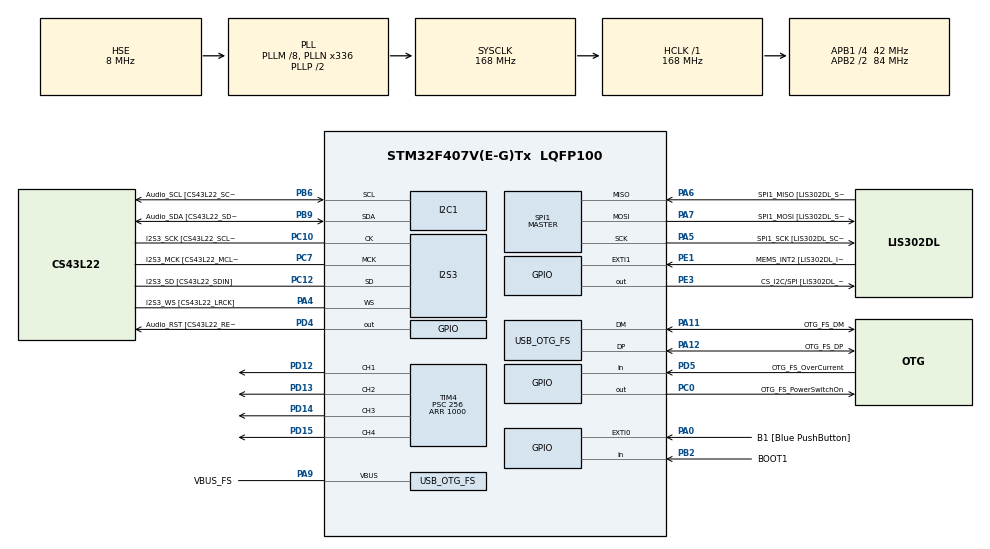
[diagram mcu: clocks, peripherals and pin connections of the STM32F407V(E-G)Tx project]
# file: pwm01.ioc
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I2S3.AudioFreq-Half_Duplex_Master=I2S_AUDIOFREQ_96K
I2S3.ErrorAudioFreq=-2.34 %
I2S3.ErrorAudioFreq-Half_Duplex_Master=0.8 %
I2S3.FullDuplexMode=I2S_FULLDUPLEXMODE_DISABLE
I2S3.Instance=SPI$Index
I2S3.RealAudioFreq=93.75 KHz
I2S3.RealAudioFreq-Half_Duplex_Master=96.774 KHz
I2S3.VirtualMode=I2S_MODE_MASTER
Mcu.Family=STM32F4
Mcu.Name=STM32F407V(E-G)Tx
Mcu.Package=LQFP100
NVIC.OTG_FS_IRQn=true\:0\:0\:false\:false\:true\:true\:true
NVIC.PriorityGroup=NVIC_PRIORITYGROUP_0
PA0-WKUP.GPIO_Label=B1 [Blue PushButton]
PA0-WKUP.GPIO_ModeDefaultEXTI=GPIO_MODE_EVT_RISING
PA0-WKUP.GPIO_PuPd=GPIO_NOPULL
PA0-WKUP.Signal=GPXTI0
PA10.GPIO_Label=OTG_FS_ID
PA10.GPIO_Mode=GPIO_MODE_AF_PP
PA10.GPIO_PuPd=GPIO_NOPULL
PA10.GPIO_Speed=GPIO_SPEED_FREQ_LOW
PA10.Signal=USB_OTG_FS_ID
PA11.GPIO_Label=OTG_FS_DM
PA11.GPIO_Mode=GPIO_MODE_AF_PP
PA11.GPIO_PuPd=GPIO_NOPULL
PA11.GPIO_Speed=GPIO_SPEED_FREQ_LOW
PA11.Mode=Host_Only
PA11.Signal=USB_OTG_FS_DM
PA12.GPIO_Label=OTG_FS_DP
PA12.GPIO_Mode=GPIO_MODE_AF_PP
PA12.GPIO_PuPd=GPIO_NOPULL
PA12.GPIO_Speed=GPIO_SPEED_FREQ_LOW
PA12.Mode=Host_Only
PA12.Signal=USB_OTG_FS_DP
PA13.GPIO_Label=SWDIO
PA13.Mode=Serial_Wire
PA13.Signal=SYS_JTMS-SWDIO
PA14.GPIO_Label=SWCLK
PA14.Mode=Serial_Wire
PA14.Signal=SYS_JTCK-SWCLK
PA4.GPIO_Label=I2S3_WS [CS43L22_LRCK]
PA4.GPIO_Mode=GPIO_MODE_AF_PP
PA4.GPIO_PuPd=GPIO_NOPULL
PA4.GPIO_Speed=GPIO_SPEED_FREQ_LOW
PA4.Mode=Half_Duplex_Master
PA4.Signal=I2S3_WS
PA5.GPIO_Label=SPI1_SCK [LIS302DL_SCL/SPC]
PA5.GPIO_Mode=GPIO_MODE_AF_PP
PA5.GPIO_PuPd=GPIO_NOPULL
PA5.GPIO_Speed=GPIO_SPEED_FREQ_LOW
PA5.Mode=Full_Duplex_Master
PA5.Signal=SPI1_SCK
PA6.GPIO_Label=SPI1_MISO [LIS302DL_SDO]
PA6.GPIO_Mode=GPIO_MODE_AF_PP
PA6.GPIO_PuPd=GPIO_NOPULL
PA6.GPIO_Speed=GPIO_SPEED_FREQ_LOW
PA6.Mode=Full_Duplex_Master
PA6.Signal=SPI1_MISO
PA7.GPIO_Label=SPI1_MOSI [LIS302DL_SDA/SDI/SDO]
PA7.GPIO_Mode=GPIO_MODE_AF_PP
PA7.GPIO_PuPd=GPIO_NOPULL
PA7.GPIO_Speed=GPIO_SPEED_FREQ_LOW
PA7.Mode=Full_Duplex_Master
PA7.Signal=SPI1_MOSI
PA9.GPIO_Label=VBUS_FS
PA9.GPIO_Mode=GPIO_MODE_INPUT
PA9.GPIO_PuPd=GPIO_NOPULL
PA9.Mode=Activate_VBUS
PA9.Signal=USB_OTG_FS_VBUS
PB10.GPIO_Label=CLK_IN [MP45DT02_CLK]
PB10.GPIO_Mode=GPIO_MODE_AF_PP
PB10.GPIO_PuPd=GPIO_NOPULL
PB10.GPIO_Speed=GPIO_SPEED_FREQ_LOW
PB10.Signal=I2S2_CK
PB2.GPIO_Label=BOOT1
PB2.GPIO_Mode=GPIO_MODE_INPUT
PB2.GPIO_PuPd=GPIO_NOPULL
PB2.Signal=GPIO_Input
PB3.GPIO_Label=SWO
PB3.Signal=SYS_JTDO-SWO
PB6.GPIO_Label=Audio_SCL [CS43L22_SCL]
PB6.GPIO_Mode=GPIO_MODE_AF_OD
PB6.GPIO_Pu=GPIO_PULLUP
PB6.GPIO_PuPd=GPIO_NOPULL
PB6.GPIO_Speed=GPIO_SPEED_FREQ_LOW
PB6.Mode=I2C
PB6.Signal=I2C1_SCL
PB9.GPIO_Label=Audio_SDA [CS43L22_SDA]
PB9.GPIO_Mode=GPIO_MODE_AF_OD
PB9.GPIO_Pu=GPIO_PULLUP
PB9.GPIO_PuPd=GPIO_NOPULL
PB9.GPIO_Speed=GPIO_SPEED_FREQ_LOW
PB9.Mode=I2C
PB9.Signal=I2C1_SDA
PC0.GPIO_Label=OTG_FS_PowerSwitchOn
PC0.GPIO_PuPd=GPIO_NOPULL
PC0.GPIO_Speed=GPIO_SPEED_FREQ_LOW
PC0.PinState=GPIO_PIN_SET
PC0.Signal=GPIO_Output
PC10.GPIO_Label=I2S3_SCK [CS43L22_SCLK]
PC10.GPIO_Mode=GPIO_MODE_AF_PP
PC10.GPIO_PuPd=GPIO_NOPULL
PC10.GPIO_Speed=GPIO_SPEED_FREQ_LOW
PC10.Mode=Half_Duplex_Master
PC10.Signal=I2S3_CK
PC12.GPIO_Label=I2S3_SD [CS43L22_SDIN]
PC12.GPIO_Mode=GPIO_MODE_AF_PP
PC12.GPIO_PuPd=GPIO_NOPULL
PC12.GPIO_Speed=GPIO_SPEED_FREQ_LOW
PC12.Mode=Half_Duplex_Master
PC12.Signal=I2S3_SD
PC14-OSC32_IN.GPIO_Label=PC14-OSC32_IN
PC14-OSC32_IN.Mode=LSE-External-Oscillator
PC14-OSC32_IN.Signal=RCC_OSC32_IN
PC15-OSC32_OUT.GPIO_Label=PC15-OSC32_OUT
PC15-OSC32_OUT.Mode=LSE-External-Oscillator
PC15-OSC32_OUT.Signal=RCC_OSC32_OUT
PC3.GPIO_Label=PDM_OUT [MP45DT02_DOUT]
PC3.GPIO_Mode=GPIO_MODE_AF_PP
PC3.GPIO_PuPd=GPIO_NOPULL
PC3.GPIO_Speed=GPIO_SPEED_FREQ_LOW
PC3.Signal=I2S2_SD
PC7.GPIO_Label=I2S3_MCK [CS43L22_MCLK]
PC7.GPIO_Mode=GPIO_MODE_AF_PP
PC7.GPIO_PuPd=GPIO_NOPULL
PC7.GPIO_Speed=GPIO_SPEED_FREQ_LOW
PC7.Mode=Master_Clock_Activated
PC7.Signal=I2S3_MCK
PD12.Signal=S_TIM4_CH1
PD13.Signal=S_TIM4_CH2
PD14.Signal=S_TIM4_CH3
PD15.Signal=S_TIM4_CH4
PD4.GPIO_Label=Audio_RST [CS43L22_RESET]
PD4.GPIO_PuPd=GPIO_NOPULL
PD4.GPIO_Speed=GPIO_SPEED_FREQ_LOW
PD4.Signal=GPIO_Output
PD5.GPIO_Label=OTG_FS_OverCurrent
PD5.GPIO_Mode=GPIO_MODE_INPUT
PD5.GPIO_PuPd=GPIO_NOPULL
PD5.Signal=GPIO_Input
PE1.GPIO_Label=MEMS_INT2 [LIS302DL_INT2]
PE1.GPIO_ModeDefaultEXTI=GPIO_MODE_EVT_RISING
PE1.GPIO_PuPd=GPIO_NOPULL
PE1.Signal=GPXTI1
PE3.GPIO_Label=CS_I2C/SPI [LIS302DL_CS_I2C/SPI]
PE3.GPIO_PuPd=GPIO_NOPULL
PE3.GPIO_Speed=GPIO_SPEED_FREQ_LOW
PE3.Signal=GPIO_Output
PH0-OSC_IN.GPIO_Label=PH0-OSC_IN
PH0-OSC_IN.Mode=HSE-External-Oscillator
PH0-OSC_IN.Signal=RCC_OSC_IN
PH1-OSC_OUT.GPIO_Label=PH1-OSC_OUT
PH1-OSC_OUT.Mode=HSE-External-Oscillator
PH1-OSC_OUT.Signal=RCC_OSC_OUT
ProjectManager.HeapSize=0x200
ProjectManager.StackSize=0x400
ProjectManager.TargetToolchain=STM32CubeIDE
RCC.48MHZClocksFreq_Value=48000000
RCC.AHBFreq_Value=168000000
RCC.APB1CLKDivider=RCC_HCLK_DIV4
RCC.APB1Freq_Value=42000000
RCC.APB1TimFreq_Value=84000000
RCC.APB2CLKDivider=RCC_HCLK_DIV2
RCC.APB2Freq_Value=84000000
RCC.APB2TimFreq_Value=168000000
RCC.CortexFreq_Value=168000000
RCC.HCLKFreq_Value=168000000
RCC.HSE_VALUE=8000000
RCC.HSI_VALUE=16000000
RCC.PLLM=8
RCC.PLLN=336
RCC.PLLQ=7
RCC.SYSCLKFreq_VALUE=168000000
RCC.SYSCLKSource=RCC_SYSCLKSOURCE_PLLCLK
RCC.VCOOutputFreq_Value=336000000
SH.S_TIM4_CH1.0=TIM4_CH1,PWM Generation1 CH1
SH.S_TIM4_CH2.0=TIM4_CH2,PWM Generation2 CH2
SH.S_TIM4_CH3.0=TIM4_CH3,PWM Generation3 CH3
SH.S_TIM4_CH4.0=TIM4_CH4,PWM Generation4 CH4
SPI1.BaudRatePrescaler-Full_Duplex_Master=SPI_BAUDRATEPRESCALER_2
SPI1.CalculateBaudRate-Full_Duplex_Master=42.0 MBits/s
SPI1.Direction=SPI_DIRECTION_2LINES
SPI1.Mode=SPI_MODE_MASTER
SPI1.Mode-Full_Duplex_Master=SPI_MODE_MASTER
SPI1.VirtualType=VM_MASTER
TIM4.Channel-PWM\ Generation1\ CH1=TIM_CHANNEL_1
TIM4.Channel-PWM\ Generation2\ CH2=TIM_CHANNEL_2
TIM4.Channel-PWM\ Generation3\ CH3=TIM_CHANNEL_3
TIM4.Channel-PWM\ Generation4\ CH4=TIM_CHANNEL_4
TIM4.Period=1000
TIM4.Prescaler=256
USB_HOST.BSP.number=1
USB_HOST.USBH_HandleTypeDef-CDC_FS=hUsbHostFS
USB_HOST.VirtualModeFS=Cdc
USB_HOST0.BSP.STBoard=false
USB_HOST0.BSP.api=Unknown
USB_HOST0.BSP.i2caddr=0
USB_HOST0.BSP.i2creg=0
USB_HOST0.BSP.instance=PC0
USB_HOST0.BSP.ip=GPIO
USB_HOST0.BSP.mode=Output
USB_HOST0.BSP.name=Drive_VBUS_FS
USB_HOST0.BSP.solution=PC0
USB_OTG_FS.VirtualMode=Host_Only
USB_OTG_FS.phy_itface=HCD_PHY_EMBEDDED
VP_TIM4_VS_ClockSourceINT.Mode=Internal
VP_USB_HOST_VS_USB_HOST_CDC_FS.Mode=CDC_FS
board=STM32F407G-DISC1

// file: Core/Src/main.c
/* USER CODE BEGIN Header */
/**
  ******************************************************************************
  * @file           : main.c
  * @brief          : Main program body
  ******************************************************************************
  * @attention
  *
  * Copyright (c) 2022 STMicroelectronics.
  * All rights reserved.
  *
  * This software is licensed under terms that can be found in the LICENSE file
  * in the root directory of this software component.
  * If no LICENSE file comes with this software, it is provided AS-IS.
  *
  ******************************************************************************
  */
/* USER CODE END Header */
#include "main.h"
#include "usb_host.h"

I2C_HandleTypeDef hi2c1;

I2S_HandleTypeDef hi2s3;

SPI_HandleTypeDef hspi1;

TIM_HandleTypeDef htim4;

void SystemClock_Config(void);
static void MX_GPIO_Init(void);
static void MX_I2C1_Init(void);
static void MX_I2S3_Init(void);
static void MX_SPI1_Init(void);
static void MX_TIM4_Init(void);
void MX_USB_HOST_Process(void);

int main(void)
{

  /* MCU Configuration--------------------------------------------------------*/

  /* Reset of all peripherals, Initializes the Flash interface and the Systick. */
  HAL_Init();

  /* Configure the system clock */
  SystemClock_Config();

  /* Initialize all configured peripherals */
  MX_GPIO_Init();
  MX_I2C1_Init();
  MX_I2S3_Init();
  MX_SPI1_Init();
  MX_USB_HOST_Init();
  MX_TIM4_Init();

  /* Infinite loop */
  /* USER CODE BEGIN WHILE */
  HAL_TIM_PWM_Start(&htim4, TIM_CHANNEL_1);
  HAL_TIM_PWM_Start(&htim4, TIM_CHANNEL_2);
  HAL_TIM_PWM_Start(&htim4, TIM_CHANNEL_3);
  HAL_TIM_PWM_Start(&htim4, TIM_CHANNEL_4);

  uint16_t step = 0;
  uint16_t phase = 0;

  while (1)
  {
	  if(phase%8 == 0 || phase%8 == 1) __HAL_TIM_SET_COMPARE(&htim4, TIM_CHANNEL_1, step);
	  if(phase%8 == 2 || phase%8 == 3) __HAL_TIM_SET_COMPARE(&htim4, TIM_CHANNEL_3, step);
	  if(phase%8 == 4 || phase%8 == 5) __HAL_TIM_SET_COMPARE(&htim4, TIM_CHANNEL_2, step);
	  if(phase%8 == 6 || phase%8 == 7) __HAL_TIM_SET_COMPARE(&htim4, TIM_CHANNEL_4, step);

	  if(phase%2 == 0) {
		  if(step == 1000) phase++;
		  step += 10;
	  }

	  if(phase%2 == 1) {
		  if(step == 0) phase++;
		  step -= 10;
	  }

	  HAL_Delay(50);

    /* USER CODE END WHILE */
//    MX_USB_HOST_Process();

  }
}

void SystemClock_Config(void)
{
  RCC_OscInitTypeDef RCC_OscInitStruct = {0};
  RCC_ClkInitTypeDef RCC_ClkInitStruct = {0};

  /** Configure the main internal regulator output voltage
  */
  __HAL_RCC_PWR_CLK_ENABLE();
  __HAL_PWR_VOLTAGESCALING_CONFIG(PWR_REGULATOR_VOLTAGE_SCALE1);
  /** Initializes the RCC Oscillators according to the specified parameters
  * in the RCC_OscInitTypeDef structure.
  */
  RCC_OscInitStruct.OscillatorType = RCC_OSCILLATORTYPE_HSE;
  RCC_OscInitStruct.HSEState = RCC_HSE_ON;
  RCC_OscInitStruct.PLL.PLLState = RCC_PLL_ON;
  RCC_OscInitStruct.PLL.PLLSource = RCC_PLLSOURCE_HSE;
  RCC_OscInitStruct.PLL.PLLM = 8;
  RCC_OscInitStruct.PLL.PLLN = 336;
  RCC_OscInitStruct.PLL.PLLP = RCC_PLLP_DIV2;
  RCC_OscInitStruct.PLL.PLLQ = 7;
  if (HAL_RCC_OscConfig(&RCC_OscInitStruct) != HAL_OK)
  {
    Error_Handler();
  }
  /** Initializes the CPU, AHB and APB buses clocks
  */
  RCC_ClkInitStruct.ClockType = RCC_CLOCKTYPE_HCLK|RCC_CLOCKTYPE_SYSCLK
                              |RCC_CLOCKTYPE_PCLK1|RCC_CLOCKTYPE_PCLK2;
  RCC_ClkInitStruct.SYSCLKSource = RCC_SYSCLKSOURCE_PLLCLK;
  RCC_ClkInitStruct.AHBCLKDivider = RCC_SYSCLK_DIV1;
  RCC_ClkInitStruct.APB1CLKDivider = RCC_HCLK_DIV4;
  RCC_ClkInitStruct.APB2CLKDivider = RCC_HCLK_DIV2;

  if (HAL_RCC_ClockConfig(&RCC_ClkInitStruct, FLASH_LATENCY_5) != HAL_OK)
  {
    Error_Handler();
  }
}

static void MX_I2C1_Init(void)
{

  hi2c1.Instance = I2C1;
  hi2c1.Init.ClockSpeed = 100000;
  hi2c1.Init.DutyCycle = I2C_DUTYCYCLE_2;
  hi2c1.Init.OwnAddress1 = 0;
  hi2c1.Init.AddressingMode = I2C_ADDRESSINGMODE_7BIT;
  hi2c1.Init.DualAddressMode = I2C_DUALADDRESS_DISABLE;
  hi2c1.Init.OwnAddress2 = 0;
  hi2c1.Init.GeneralCallMode = I2C_GENERALCALL_DISABLE;
  hi2c1.Init.NoStretchMode = I2C_NOSTRETCH_DISABLE;
  if (HAL_I2C_Init(&hi2c1) != HAL_OK)
  {
    Error_Handler();
  }

}

static void MX_I2S3_Init(void)
{

  hi2s3.Instance = SPI3;
  hi2s3.Init.Mode = I2S_MODE_MASTER_TX;
  hi2s3.Init.Standard = I2S_STANDARD_PHILIPS;
  hi2s3.Init.DataFormat = I2S_DATAFORMAT_16B;
  hi2s3.Init.MCLKOutput = I2S_MCLKOUTPUT_ENABLE;
  hi2s3.Init.AudioFreq = I2S_AUDIOFREQ_96K;
  hi2s3.Init.CPOL = I2S_CPOL_LOW;
  hi2s3.Init.ClockSource = I2S_CLOCK_PLL;
  hi2s3.Init.FullDuplexMode = I2S_FULLDUPLEXMODE_DISABLE;
  if (HAL_I2S_Init(&hi2s3) != HAL_OK)
  {
    Error_Handler();
  }

}

static void MX_SPI1_Init(void)
{

  /* SPI1 parameter configuration*/
  hspi1.Instance = SPI1;
  hspi1.Init.Mode = SPI_MODE_MASTER;
  hspi1.Init.Direction = SPI_DIRECTION_2LINES;
  hspi1.Init.DataSize = SPI_DATASIZE_8BIT;
  hspi1.Init.CLKPolarity = SPI_POLARITY_LOW;
  hspi1.Init.CLKPhase = SPI_PHASE_1EDGE;
  hspi1.Init.NSS = SPI_NSS_SOFT;
  hspi1.Init.BaudRatePrescaler = SPI_BAUDRATEPRESCALER_2;
  hspi1.Init.FirstBit = SPI_FIRSTBIT_MSB;
  hspi1.Init.TIMode = SPI_TIMODE_DISABLE;
  hspi1.Init.CRCCalculation = SPI_CRCCALCULATION_DISABLE;
  hspi1.Init.CRCPolynomial = 10;
  if (HAL_SPI_Init(&hspi1) != HAL_OK)
  {
    Error_Handler();
  }

}

static void MX_TIM4_Init(void)
{

  TIM_ClockConfigTypeDef sClockSourceConfig = {0};
  TIM_MasterConfigTypeDef sMasterConfig = {0};
  TIM_OC_InitTypeDef sConfigOC = {0};

  htim4.Instance = TIM4;
  htim4.Init.Prescaler = 256;
  htim4.Init.CounterMode = TIM_COUNTERMODE_UP;
  htim4.Init.Period = 1000;
  htim4.Init.ClockDivision = TIM_CLOCKDIVISION_DIV1;
  htim4.Init.AutoReloadPreload = TIM_AUTORELOAD_PRELOAD_DISABLE;
  if (HAL_TIM_Base_Init(&htim4) != HAL_OK)
  {
    Error_Handler();
  }
  sClockSourceConfig.ClockSource = TIM_CLOCKSOURCE_INTERNAL;
  if (HAL_TIM_ConfigClockSource(&htim4, &sClockSourceConfig) != HAL_OK)
  {
    Error_Handler();
  }
  if (HAL_TIM_PWM_Init(&htim4) != HAL_OK)
  {
    Error_Handler();
  }
  sMasterConfig.MasterOutputTrigger = TIM_TRGO_RESET;
  sMasterConfig.MasterSlaveMode = TIM_MASTERSLAVEMODE_DISABLE;
  if (HAL_TIMEx_MasterConfigSynchronization(&htim4, &sMasterConfig) != HAL_OK)
  {
    Error_Handler();
  }
  sConfigOC.OCMode = TIM_OCMODE_PWM1;
  sConfigOC.Pulse = 0;
  sConfigOC.OCPolarity = TIM_OCPOLARITY_HIGH;
  sConfigOC.OCFastMode = TIM_OCFAST_DISABLE;
  if (HAL_TIM_PWM_ConfigChannel(&htim4, &sConfigOC, TIM_CHANNEL_1) != HAL_OK)
  {
    Error_Handler();
  }
  if (HAL_TIM_PWM_ConfigChannel(&htim4, &sConfigOC, TIM_CHANNEL_2) != HAL_OK)
  {
    Error_Handler();
  }
  if (HAL_TIM_PWM_ConfigChannel(&htim4, &sConfigOC, TIM_CHANNEL_3) != HAL_OK)
  {
    Error_Handler();
  }
  if (HAL_TIM_PWM_ConfigChannel(&htim4, &sConfigOC, TIM_CHANNEL_4) != HAL_OK)
  {
    Error_Handler();
  }
  HAL_TIM_MspPostInit(&htim4);

}

static void MX_GPIO_Init(void)
{
  GPIO_InitTypeDef GPIO_InitStruct = {0};

  /* GPIO Ports Clock Enable */
  __HAL_RCC_GPIOE_CLK_ENABLE();
  __HAL_RCC_GPIOC_CLK_ENABLE();
  __HAL_RCC_GPIOH_CLK_ENABLE();
  __HAL_RCC_GPIOA_CLK_ENABLE();
  __HAL_RCC_GPIOB_CLK_ENABLE();
  __HAL_RCC_GPIOD_CLK_ENABLE();

  /*Configure GPIO pin Output Level */
  HAL_GPIO_WritePin(CS_I2C_SPI_GPIO_Port, CS_I2C_SPI_Pin, GPIO_PIN_RESET);

  /*Configure GPIO pin Output Level */
  HAL_GPIO_WritePin(OTG_FS_PowerSwitchOn_GPIO_Port, OTG_FS_PowerSwitchOn_Pin, GPIO_PIN_SET);

  /*Configure GPIO pin Output Level */
  HAL_GPIO_WritePin(Audio_RST_GPIO_Port, Audio_RST_Pin, GPIO_PIN_RESET);

  /*Configure GPIO pin : CS_I2C_SPI_Pin */
  GPIO_InitStruct.Pin = CS_I2C_SPI_Pin;
  GPIO_InitStruct.Mode = GPIO_MODE_OUTPUT_PP;
  GPIO_InitStruct.Pull = GPIO_NOPULL;
  GPIO_InitStruct.Speed = GPIO_SPEED_FREQ_LOW;
  HAL_GPIO_Init(CS_I2C_SPI_GPIO_Port, &GPIO_InitStruct);

  /*Configure GPIO pin : OTG_FS_PowerSwitchOn_Pin */
  GPIO_InitStruct.Pin = OTG_FS_PowerSwitchOn_Pin;
  GPIO_InitStruct.Mode = GPIO_MODE_OUTPUT_PP;
  GPIO_InitStruct.Pull = GPIO_NOPULL;
  GPIO_InitStruct.Speed = GPIO_SPEED_FREQ_LOW;
  HAL_GPIO_Init(OTG_FS_PowerSwitchOn_GPIO_Port, &GPIO_InitStruct);

  /*Configure GPIO pin : PDM_OUT_Pin */
  GPIO_InitStruct.Pin = PDM_OUT_Pin;
  GPIO_InitStruct.Mode = GPIO_MODE_AF_PP;
  GPIO_InitStruct.Pull = GPIO_NOPULL;
  GPIO_InitStruct.Speed = GPIO_SPEED_FREQ_LOW;
  GPIO_InitStruct.Alternate = GPIO_AF5_SPI2;
  HAL_GPIO_Init(PDM_OUT_GPIO_Port, &GPIO_InitStruct);

  /*Configure GPIO pin : B1_Pin */
  GPIO_InitStruct.Pin = B1_Pin;
  GPIO_InitStruct.Mode = GPIO_MODE_EVT_RISING;
  GPIO_InitStruct.Pull = GPIO_NOPULL;
  HAL_GPIO_Init(B1_GPIO_Port, &GPIO_InitStruct);

  /*Configure GPIO pin : BOOT1_Pin */
  GPIO_InitStruct.Pin = BOOT1_Pin;
  GPIO_InitStruct.Mode = GPIO_MODE_INPUT;
  GPIO_InitStruct.Pull = GPIO_NOPULL;
  HAL_GPIO_Init(BOOT1_GPIO_Port, &GPIO_InitStruct);

  /*Configure GPIO pin : CLK_IN_Pin */
  GPIO_InitStruct.Pin = CLK_IN_Pin;
  GPIO_InitStruct.Mode = GPIO_MODE_AF_PP;
  GPIO_InitStruct.Pull = GPIO_NOPULL;
  GPIO_InitStruct.Speed = GPIO_SPEED_FREQ_LOW;
  GPIO_InitStruct.Alternate = GPIO_AF5_SPI2;
  HAL_GPIO_Init(CLK_IN_GPIO_Port, &GPIO_InitStruct);

  /*Configure GPIO pin : Audio_RST_Pin */
  GPIO_InitStruct.Pin = Audio_RST_Pin;
  GPIO_InitStruct.Mode = GPIO_MODE_OUTPUT_PP;
  GPIO_InitStruct.Pull = GPIO_NOPULL;
  GPIO_InitStruct.Speed = GPIO_SPEED_FREQ_LOW;
  HAL_GPIO_Init(Audio_RST_GPIO_Port, &GPIO_InitStruct);

  /*Configure GPIO pin : OTG_FS_OverCurrent_Pin */
  GPIO_InitStruct.Pin = OTG_FS_OverCurrent_Pin;
  GPIO_InitStruct.Mode = GPIO_MODE_INPUT;
  GPIO_InitStruct.Pull = GPIO_NOPULL;
  HAL_GPIO_Init(OTG_FS_OverCurrent_GPIO_Port, &GPIO_InitStruct);

  /*Configure GPIO pin : MEMS_INT2_Pin */
  GPIO_InitStruct.Pin = MEMS_INT2_Pin;
  GPIO_InitStruct.Mode = GPIO_MODE_EVT_RISING;
  GPIO_InitStruct.Pull = GPIO_NOPULL;
  HAL_GPIO_Init(MEMS_INT2_GPIO_Port, &GPIO_InitStruct);

}

void Error_Handler(void)
{
  __disable_irq();
  while (1)
  {
  }
}
